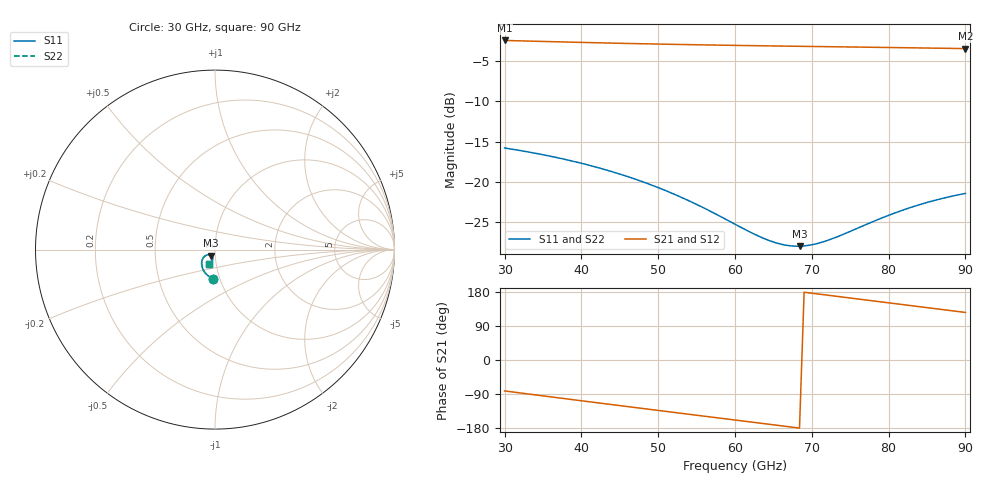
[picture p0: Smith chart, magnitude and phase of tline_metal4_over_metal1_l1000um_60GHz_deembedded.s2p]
! Created with skrf 2.2.0 (http://scikit-rf.org).
# GHz S DB R 50.0
! Port[1] = P1
! Port[2] = P2
!freq dBS11 angS11 dBS21 angS21 dBS12 angS12 dBS22 angS22
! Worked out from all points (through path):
!   101 points, 30 GHz to 90 GHz, reference 50 ohm
!   highest |S21| = -2.44 dB at 30 GHz (marker M1); lowest = -3.5 dB at 90 GHz (marker M2)
!   group delay of S21, straight-line fit = 7.06 ps
!   lowest |S11| = -28.0 dB at 68.4 GHz (marker M3), VSWR 1.08, Z = 47.8 - j3.19 ohm
!   |S11| at or under -10 dB: start of sweep to end of sweep
!   |S22| runs from -28.0 to -15.8 dB; largest |S21 - S12| = 8.6e-14
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30  -15.80 -93.7  -2.44 -81.6  -2.44 -81.6  -15.78 -93.7
32.4  -16.17 -100.4  -2.50 -87.9  -2.50 -87.9  -16.15 -100.4
34.8  -16.60 -106.9  -2.56 -94.2  -2.56 -94.2  -16.58 -107.0
37.2  -17.07 -113.2  -2.62 -100.4  -2.62 -100.4  -17.05 -113.2
40.2  -17.74 -120.6  -2.69 -108.1  -2.69 -108.1  -17.72 -120.7
45  -19.04 -131.4  -2.79 -120.4  -2.79 -120.4  -19.01 -131.5
47.4  -19.80 -136.2  -2.84 -126.5  -2.84 -126.5  -19.77 -136.2
50.4  -20.87 -141.3  -2.90 -134.1  -2.90 -134.1  -20.84 -141.4
55.2  -22.90 -146.7  -2.98 -146.2  -2.98 -146.2  -22.88 -146.8
57.6  -24.05 -147.5  -3.02 -152.3  -3.02 -152.3  -24.04 -147.5
60  -25.26 -146.4  -3.05 -158.4  -3.05 -158.4  -25.26 -146.4
63  -26.71 -141.5  -3.09 -166.0  -3.09 -166.0  -26.72 -141.4
64.8  -27.41 -136.5  -3.12 -170.5  -3.12 -170.5  -27.42 -136.3
66.6  -27.86 -130.2  -3.14 -175.1  -3.14 -175.1  -27.88 -129.9
68.4  -27.99 -123.3  -3.17 -179.7  -3.17 -179.7  -28.00 -122.9
70.2  -27.78 -116.7  -3.19 175.8  -3.19 175.8  -27.78 -116.2
72  -27.29 -111.1  -3.21 171.2  -3.21 171.2  -27.28 -110.6
75  -26.15 -105.2  -3.25 163.6  -3.25 163.6  -26.12 -104.6
77.4  -25.17 -103.2  -3.28 157.5  -3.28 157.5  -25.12 -102.6
80.4  -24.02 -103.3  -3.32 149.9  -3.32 149.9  -23.96 -102.7
85.2  -22.51 -107.2  -3.38 137.7  -3.38 137.7  -22.44 -106.6
90  -21.44 -113.6  -3.45 125.5  -3.45 125.5  -21.36 -113.0
